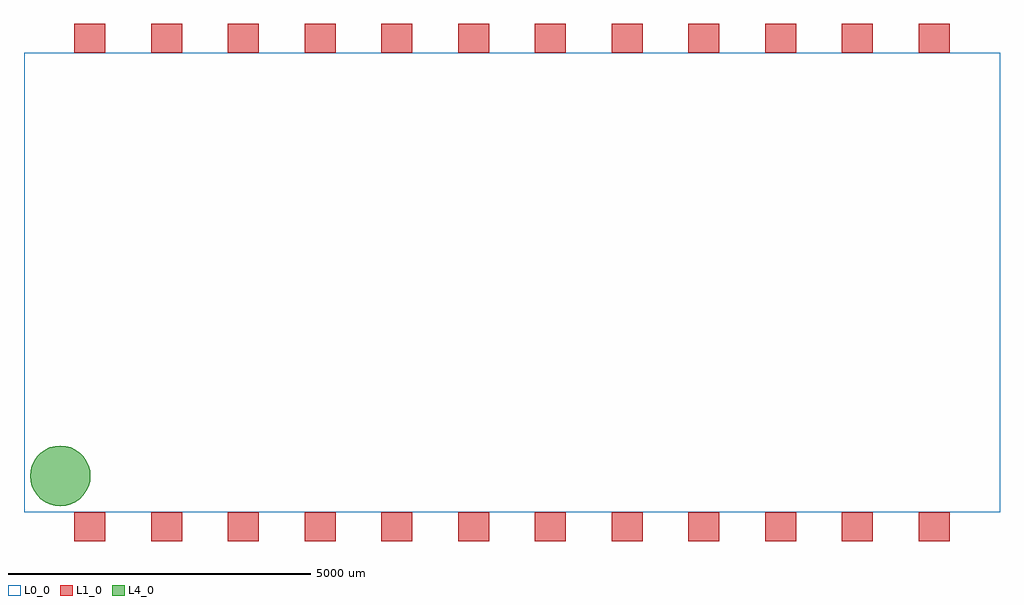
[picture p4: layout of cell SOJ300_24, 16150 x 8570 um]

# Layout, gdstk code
import gdstk
lib = gdstk.Library(unit=1e-6, precision=1e-09)
def R(c, l, rs):  # rectangles x0, y0, x1, y1
    for r in rs: c.add(gdstk.rectangle(r[:2], r[2:], *l))
def A(c, l, x, y, w, h, nx, ny, dx, dy):  # array of equal rectangles
    R(c, l, [(x+i*dx, y+j*dy, x+i*dx+w, y+j*dy+h) for i in range(nx) for j in range(ny)])
def P(c, l, *ps):  # polygons
    for p in ps: c.add(gdstk.Polygon(p, *l))
L0_0 = (0, 0)
L1_0 = (1, 0)
L4_0 = (4, 0)
L99_1 = (99, 1)
L99_2 = (99, 2)
L99_3 = (99, 3)
L99_4 = (99, 4)
L99_5 = (99, 5)
L99_6 = (99, 6)
L99_7 = (99, 7)
L99_8 = (99, 8)
L99_9 = (99, 9)
L99_10 = (99, 10)
L99_11 = (99, 11)
L99_12 = (99, 12)
L99_13 = (99, 13)
L99_14 = (99, 14)
L99_15 = (99, 15)
L99_16 = (99, 16)
L99_17 = (99, 17)
L99_18 = (99, 18)
L99_19 = (99, 19)
L99_20 = (99, 20)
L99_21 = (99, 21)
L99_22 = (99, 22)
L99_23 = (99, 23)
L99_24 = (99, 24)

soj300_24 = lib.new_cell('SOJ300_24')
R(soj300_24, L0_0, [(0,0,16150,7600)])
A(soj300_24, L1_0, 835, -485, 510, 485, 12, 2, 1270, 8085)
P(soj300_24, L4_0, [(1100,600),(1092.404,513.176),(1069.846,428.99),(1033.013,350),(983.022,278.606),(921.394,216.978),(850,166.987),(771.01,130.154),(686.824,107.596),(600,100),(513.176,107.596),(428.99,130.154),(350,166.987),(278.606,216.978),(216.978,278.606),(166.987,350),(130.154,428.99),(107.596,513.176),(100,600),(107.596,686.824),(130.154,771.01),(166.987,850),(216.978,921.394),(278.606,983.022),(350,1033.013),(428.99,1069.846),(513.176,1092.404),(600,1100),(686.824,1092.404),(771.01,1069.846),(850,1033.013),(921.394,983.022),(983.022,921.394),(1033.013,850),(1069.846,771.01),(1092.404,686.824)])
soj300_24.add(gdstk.FlexPath([(1345,0),(835,0)], 0, ends="round", simple_path=True, layer=99, datatype=1))  # L99_1
soj300_24.add(gdstk.FlexPath([(2615,0),(2105,0)], 0, ends="round", simple_path=True, layer=99, datatype=2))  # L99_2
soj300_24.add(gdstk.FlexPath([(3885,0),(3375,0)], 0, ends="round", simple_path=True, layer=99, datatype=3))  # L99_3
soj300_24.add(gdstk.FlexPath([(5155,0),(4645,0)], 0, ends="round", simple_path=True, layer=99, datatype=4))  # L99_4
soj300_24.add(gdstk.FlexPath([(6425,0),(5915,0)], 0, ends="round", simple_path=True, layer=99, datatype=5))  # L99_5
soj300_24.add(gdstk.FlexPath([(7695,0),(7185,0)], 0, ends="round", simple_path=True, layer=99, datatype=6))  # L99_6
soj300_24.add(gdstk.FlexPath([(8965,0),(8455,0)], 0, ends="round", simple_path=True, layer=99, datatype=7))  # L99_7
soj300_24.add(gdstk.FlexPath([(10235,0),(9725,0)], 0, ends="round", simple_path=True, layer=99, datatype=8))  # L99_8
soj300_24.add(gdstk.FlexPath([(11505,0),(10995,0)], 0, ends="round", simple_path=True, layer=99, datatype=9))  # L99_9
soj300_24.add(gdstk.FlexPath([(12775,0),(12265,0)], 0, ends="round", simple_path=True, layer=99, datatype=10))  # L99_10
soj300_24.add(gdstk.FlexPath([(14045,0),(13535,0)], 0, ends="round", simple_path=True, layer=99, datatype=11))  # L99_11
soj300_24.add(gdstk.FlexPath([(15315,0),(14805,0)], 0, ends="round", simple_path=True, layer=99, datatype=12))  # L99_12
soj300_24.add(gdstk.FlexPath([(835,7600),(1345,7600)], 0, ends="round", simple_path=True, layer=99, datatype=24))  # L99_24
soj300_24.add(gdstk.FlexPath([(2105,7600),(2615,7600)], 0, ends="round", simple_path=True, layer=99, datatype=23))  # L99_23
soj300_24.add(gdstk.FlexPath([(3375,7600),(3885,7600)], 0, ends="round", simple_path=True, layer=99, datatype=22))  # L99_22
soj300_24.add(gdstk.FlexPath([(4645,7600),(5155,7600)], 0, ends="round", simple_path=True, layer=99, datatype=21))  # L99_21
soj300_24.add(gdstk.FlexPath([(5915,7600),(6425,7600)], 0, ends="round", simple_path=True, layer=99, datatype=20))  # L99_20
soj300_24.add(gdstk.FlexPath([(7185,7600),(7695,7600)], 0, ends="round", simple_path=True, layer=99, datatype=19))  # L99_19
soj300_24.add(gdstk.FlexPath([(8455,7600),(8965,7600)], 0, ends="round", simple_path=True, layer=99, datatype=18))  # L99_18
soj300_24.add(gdstk.FlexPath([(9725,7600),(10235,7600)], 0, ends="round", simple_path=True, layer=99, datatype=17))  # L99_17
soj300_24.add(gdstk.FlexPath([(10995,7600),(11505,7600)], 0, ends="round", simple_path=True, layer=99, datatype=16))  # L99_16
soj300_24.add(gdstk.FlexPath([(12265,7600),(12775,7600)], 0, ends="round", simple_path=True, layer=99, datatype=15))  # L99_15
soj300_24.add(gdstk.FlexPath([(13535,7600),(14045,7600)], 0, ends="round", simple_path=True, layer=99, datatype=14))  # L99_14
soj300_24.add(gdstk.FlexPath([(14805,7600),(15315,7600)], 0, ends="round", simple_path=True, layer=99, datatype=13))  # L99_13

lib.write_gds('SOJ300_24.gds')
